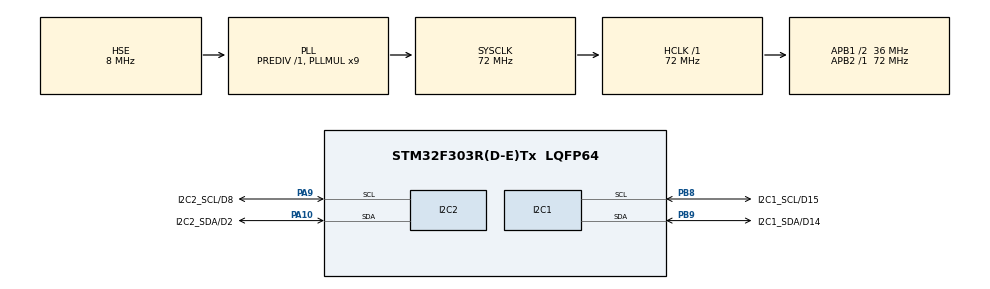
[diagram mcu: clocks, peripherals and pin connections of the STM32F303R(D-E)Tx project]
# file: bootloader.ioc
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I2C1.OwnAddress=5
I2C1.Timing=0x10808DD3
I2C2.OwnAddress=5
I2C2.Timing=0x10808DD3
Mcu.Family=STM32F3
Mcu.Name=STM32F303R(D-E)Tx
Mcu.Package=LQFP64
NVIC.I2C2_ER_IRQn=true\:0\:0\:false
NVIC.I2C2_EV_IRQn=true\:0\:0\:false
NVIC.PriorityGroup=NVIC_PRIORITYGROUP_4
PA10.GPIO_Label=I2C2_SDA/D2
PA10.Mode=I2C
PA10.Signal=I2C2_SDA
PA13.Mode=JTAG(5-pin)
PA13.Signal=SYS_JTMS-SWDIO
PA14.Mode=JTAG(5-pin)
PA14.Signal=SYS_JTCK-SWCLK
PA15.Mode=JTAG(5-pin)
PA15.Signal=SYS_JTDI
PA9.GPIO_Label=I2C2_SCL/D8
PA9.Mode=I2C
PA9.Signal=I2C2_SCL
PB3.Mode=JTAG(5-pin)
PB3.Signal=SYS_JTDO-TRACESWO
PB4.Mode=JTAG(5-pin)
PB4.Signal=SYS_NJTRST
PB8.GPIO_Label=I2C1_SCL/D15
PB8.Mode=I2C
PB8.Signal=I2C1_SCL
PB9.GPIO_Label=I2C1_SDA/D14
PB9.Mode=I2C
PB9.Signal=I2C1_SDA
PF0-OSC_IN.Mode=HSE-External-Oscillator
PF0-OSC_IN.Signal=RCC_OSC_IN
PF1-OSC_OUT.Mode=HSE-External-Oscillator
PF1-OSC_OUT.Signal=RCC_OSC_OUT
ProjectManager.HeapSize=0x400
ProjectManager.StackSize=0x200
ProjectManager.TargetToolchain=SW4STM32
RCC.AHBFreq_Value=72000000
RCC.APB1CLKDivider=RCC_HCLK_DIV2
RCC.APB1Freq_Value=36000000
RCC.APB1TimFreq_Value=72000000
RCC.APB2Freq_Value=72000000
RCC.APB2TimFreq_Value=72000000
RCC.CortexFreq_Value=72000000
RCC.HCLKFreq_Value=72000000
RCC.HSE_VALUE=8000000
RCC.HSIState=RCC_HSI_ON
RCC.HSI_VALUE=8000000
RCC.I2c1ClockSelection=RCC_I2C1CLKSOURCE_SYSCLK
RCC.I2c2ClockSelection=RCC_I2C2CLKSOURCE_SYSCLK
RCC.LSE_VALUE=32768
RCC.PLLMUL=RCC_PLL_MUL9
RCC.PLLSourceVirtual=RCC_PLLSOURCE_HSE
RCC.SYSCLKFreq_VALUE=72000000
RCC.SYSCLKSourceVirtual=RCC_SYSCLKSOURCE_PLLCLK
RCC.USBFreq_Value=72000000
board=bootloader

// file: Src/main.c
/**
  ******************************************************************************
  * File Name          : main.c
  * Description        : Main program body
  ******************************************************************************
  *
  * COPYRIGHT(c) 2016 STMicroelectronics
  *
  * Redistribution and use in source and binary forms, with or without modification,
  * are permitted provided that the following conditions are met:
  *   1. Redistributions of source code must retain the above copyright notice,
  *      this list of conditions and the following disclaimer.
  *   2. Redistributions in binary form must reproduce the above copyright notice,
  *      this list of conditions and the following disclaimer in the documentation
  *      and/or other materials provided with the distribution.
  *   3. Neither the name of STMicroelectronics nor the names of its contributors
  *      may be used to endorse or promote products derived from this software
  *      without specific prior written permission.
  *
  * THIS SOFTWARE IS PROVIDED BY THE COPYRIGHT HOLDERS AND CONTRIBUTORS "AS IS"
  * AND ANY EXPRESS OR IMPLIED WARRANTIES, INCLUDING, BUT NOT LIMITED TO, THE
  * IMPLIED WARRANTIES OF MERCHANTABILITY AND FITNESS FOR A PARTICULAR PURPOSE ARE
  * DISCLAIMED. IN NO EVENT SHALL THE COPYRIGHT HOLDER OR CONTRIBUTORS BE LIABLE
  * FOR ANY DIRECT, INDIRECT, INCIDENTAL, SPECIAL, EXEMPLARY, OR CONSEQUENTIAL
  * DAMAGES (INCLUDING, BUT NOT LIMITED TO, PROCUREMENT OF SUBSTITUTE GOODS OR
  * SERVICES; LOSS OF USE, DATA, OR PROFITS; OR BUSINESS INTERRUPTION) HOWEVER
  * CAUSED AND ON ANY THEORY OF LIABILITY, WHETHER IN CONTRACT, STRICT LIABILITY,
  * OR TORT (INCLUDING NEGLIGENCE OR OTHERWISE) ARISING IN ANY WAY OUT OF THE USE
  * OF THIS SOFTWARE, EVEN IF ADVISED OF THE POSSIBILITY OF SUCH DAMAGE.
  *
  ******************************************************************************
  */
#include "stm32f3xx_hal.h"
#include "i2c.h"
#include "gpio.h"

/* USER CODE BEGIN Includes */
#include <stdbool.h>
#include <string.h>
/* USER CODE END Includes */

/* USER CODE BEGIN PV */
/* Private variables ---------------------------------------------------------*/
#define APP_END 0x08080000
#define AP_START_SECTOR 0x08010000

/* Block out application EEPROM space */
#define BOOT_MODE_ADDRESS 		0x7F
#define BOOT_MODE_APPLICATION	0xA5
#define BOOT_MODE_STK500		0xFF
#define BOOT_MODE_DEVADDRESS	(0x50 << 1)
#define BOOT_MODE_LOAD			0xFF

#define I2C_BUFFER_SIZE			64

#define MESSAGE_START			0x1B
#define TOKEN					0x0E

#define CMD_LOAD_ADDRESS 		0x06
#define CMD_CHIP_ERASE			0x12
#define CMD_PROGRAM_FLASH_ISP 	0x13
#define CMD_READ_FLASH_ISP 		0x14

#define STATUS_CMD_OK			0x00
#define STATUS_CMD_FAILED		0xC0

#define SPM_PAGESIZE			2048

static volatile uint32_t i2cErrorCounter;
static volatile uint32_t i2cReceiveFlag;
static uint8_t i2cRxCharacter[I2C_BUFFER_SIZE];
static uint8_t i2cTxCharacter[I2C_BUFFER_SIZE];
static volatile uint16_t i2cRxLength;
static volatile uint16_t i2cTxLength;

static uint8_t st_sequence_number;
static uint16_t st_message_size;

static uint32_t eraseAddress;
static uint32_t address;

/* USER CODE END PV */

void SystemClock_Config(void);

/* USER CODE BEGIN PFP */
/* Private function prototypes -----------------------------------------------*/
static uint8_t calculateSTK500Checksum(uint8_t *buffer, uint16_t length);
static void build_response_buffer(uint8_t responseCommand, uint8_t responseValue);
static void buildMessageHeader(uint16_t length);
static bool processRequest(void);
static bool commandProcessor(uint8_t *commandBuffer, uint16_t size);
static bool processEraseRequest(uint8_t *commandBuffer, uint16_t size);
static bool processLoadAddressRequest(uint8_t* commandBuffer, uint16_t size);
static bool processProgramFlashIsp(uint8_t* commandBuffer, uint16_t size);
static bool processReadFlashIsp(uint8_t* commandBuffer, uint16_t size);

//void (*const jumpFunction)(void) = (void(*)(void)) (APP_START + 4ul);
typedef  void (*pFunction)(void);

/* USER CODE END PFP */

/* USER CODE BEGIN 0 */
typedef union _FLASH_WORD_
{
	uint32_t value;
	uint8_t units[4];
}FLASH_WORD;

/* USER CODE END 0 */

int main(void)
{

  /* USER CODE BEGIN 1 */
	uint8_t bootValue;
	pFunction jumpFunction;
  /* USER CODE END 1 */

  /* MCU Configuration----------------------------------------------------------*/

  /* Reset of all peripherals, Initializes the Flash interface and the Systick. */
  HAL_Init();

  /* Configure the system clock */
  SystemClock_Config();

  /* Initialize all configured peripherals */
  MX_GPIO_Init();
  MX_I2C1_Init();
  MX_I2C2_Init();

  /* USER CODE BEGIN 2 */
  i2cErrorCounter = 0;
  i2cReceiveFlag = 0;

  // --
  // --
  // --
  if(HAL_OK == HAL_I2C_Mem_Read(&hi2c1, 0xA0, BOOT_MODE_ADDRESS, I2C_MEMADD_SIZE_8BIT, &bootValue, 1, 200))
  {
	  if(BOOT_MODE_APPLICATION == bootValue)
	  {
		  // Disable the system tick timer so that there's no
		  // harm done if the application doesn't initialize an ISR
		  // for sys tick
		  SysTick->CTRL &= ~SysTick_CTRL_ENABLE_Msk;

		  // Disable the I2C peripherals
		  HAL_I2C_MspDeInit(&hi2c1);
		  HAL_I2C_MspDeInit(&hi2c2);

		  // Reset the stack pointer
		  __set_MSP(*(__IO uint32_t*)AP_START_SECTOR);

		  // Jump to application space. The following two lines
		  // recover the applications entry point address and calls
		  // into the application. The application will generally
		  // reset the stack pointer so the following function
		  // should never return.
		  jumpFunction = (pFunction)((uint32_t*)AP_START_SECTOR)[1];
		  jumpFunction();

	  }
  }

  // --
  // -- Start the I2C receive function.
  // --
  HAL_I2C_Slave_Receive_IT(&hi2c2, i2cRxCharacter, sizeof(i2cRxCharacter));

  /* USER CODE END 2 */

  /* Infinite loop */
  while (1)
  {

  /* USER CODE BEGIN 3 */
	  if(i2cReceiveFlag)
	  {
		  if(true == processRequest())
		  {
			  /* Request involves data to be read by the host. */
			  HAL_I2C_Slave_Transmit(&hi2c2, i2cTxCharacter, i2cTxLength, 200);

		  }

		  //
		  // Clear the receive flag first, then ...
		  // Restart I2C Receiving
		  //
		  i2cReceiveFlag = 0;
		  HAL_I2C_Slave_Receive_IT(&hi2c2, i2cRxCharacter, sizeof(i2cRxCharacter));

	  }

  }
  /* USER CODE END 3 */

}

/** System Clock Configuration
*/
void SystemClock_Config(void)
{

  RCC_OscInitTypeDef RCC_OscInitStruct;
  RCC_ClkInitTypeDef RCC_ClkInitStruct;
  RCC_PeriphCLKInitTypeDef PeriphClkInit;

  RCC_OscInitStruct.OscillatorType = RCC_OSCILLATORTYPE_HSE;
  RCC_OscInitStruct.HSEState = RCC_HSE_ON;
  RCC_OscInitStruct.PLL.PLLState = RCC_PLL_ON;
  RCC_OscInitStruct.PLL.PLLSource = RCC_PLLSOURCE_HSE;
  RCC_OscInitStruct.PLL.PLLMUL = RCC_PLL_MUL9;
  RCC_OscInitStruct.PLL.PREDIV = RCC_PREDIV_DIV1;
  HAL_RCC_OscConfig(&RCC_OscInitStruct);

  RCC_ClkInitStruct.ClockType = RCC_CLOCKTYPE_HCLK|RCC_CLOCKTYPE_SYSCLK
                              |RCC_CLOCKTYPE_PCLK1|RCC_CLOCKTYPE_PCLK2;
  RCC_ClkInitStruct.SYSCLKSource = RCC_SYSCLKSOURCE_PLLCLK;
  RCC_ClkInitStruct.AHBCLKDivider = RCC_SYSCLK_DIV1;
  RCC_ClkInitStruct.APB1CLKDivider = RCC_HCLK_DIV2;
  RCC_ClkInitStruct.APB2CLKDivider = RCC_HCLK_DIV1;
  HAL_RCC_ClockConfig(&RCC_ClkInitStruct, FLASH_LATENCY_2);

  PeriphClkInit.PeriphClockSelection = RCC_PERIPHCLK_I2C1|RCC_PERIPHCLK_I2C2
                              |RCC_PERIPHCLK_TIM20;
  PeriphClkInit.I2c1ClockSelection = RCC_I2C1CLKSOURCE_SYSCLK;
  PeriphClkInit.I2c2ClockSelection = RCC_I2C2CLKSOURCE_SYSCLK;
  PeriphClkInit.Tim20ClockSelection = RCC_TIM20CLK_HCLK;
  HAL_RCCEx_PeriphCLKConfig(&PeriphClkInit);

  HAL_SYSTICK_Config(HAL_RCC_GetHCLKFreq()/1000);

  HAL_SYSTICK_CLKSourceConfig(SYSTICK_CLKSOURCE_HCLK);

  /* SysTick_IRQn interrupt configuration */
  HAL_NVIC_SetPriority(SysTick_IRQn, 0, 0);
}

/* USER CODE BEGIN 4 */

/**
 * Function: processRequest
 *
 * Input:
 * 	 None
 *
 * Output:
 * 	None
 *
 * Returns:
 * 	true - Response is ready to send
 * 	false - No response required
 *
 * Description:
 * 	Verifies the checksum on the current request. If no errors
 * 	are detected, save the sequence number, extract the data
 * 	segment of the request, and pass the request to the command
 * 	processor.
 */
static bool processRequest(void)
{
	uint8_t bufferChecksum;
	bool responseFlag;

	if(MESSAGE_START != i2cRxCharacter[0])
	{
		return false;
	}

	// --
	// -- Calculate the checksum in the buffer. i2cRxLength is
	// -- set by the i2c interrupt service routine
	// --
	bufferChecksum = calculateSTK500Checksum(i2cRxCharacter, i2cRxLength-1);

	responseFlag = false;

	if( (bufferChecksum == i2cRxCharacter[i2cRxLength-1]) && (TOKEN == i2cRxCharacter[4]))
	{
		st_sequence_number = i2cRxCharacter[1];
		st_message_size = ((uint16_t)i2cRxCharacter[2] << 8) + (uint16_t)i2cRxCharacter[3];
		responseFlag = commandProcessor(&i2cRxCharacter[5], st_message_size);
	}

	return responseFlag;
}

/**
 * Function: commandProcessor
 *
 * Input:
 * 	commandBuffer - Block containing request command
 * 	size - Number of bytes int he request
 *
 * Output:
 * 	None
 *
 * Returns:
 * 	None
 *
 * Description:
 * 	Routes requests to the appropriate command processing function
 */
static bool commandProcessor(uint8_t *commandBuffer, uint16_t size)
{
	bool responseFlag;
	switch(commandBuffer[0])
	{
	case CMD_CHIP_ERASE:
		responseFlag = processEraseRequest(commandBuffer, size);
		break;
	case CMD_LOAD_ADDRESS:
		responseFlag = processLoadAddressRequest(commandBuffer, size);
		break;
	case CMD_PROGRAM_FLASH_ISP:
		responseFlag = processProgramFlashIsp(commandBuffer, size);
		break;
	case CMD_READ_FLASH_ISP:
		responseFlag = processReadFlashIsp(commandBuffer, size);
		break;
	default:
		responseFlag = false;
		break;
	}
	return responseFlag;
}

/*
 * Function: processReadFlashIsp
 * Input:
 *	commandBuffer - buffer containing command to process
 *	size - number of bytes in the block of memory
 * Output:
 *	none
 * Returns:
 *	true - success
 *	false - fail
 * Description:
 *	Builds a response packet that will be returned on the next TWI
 *	read request.
 */
static bool processReadFlashIsp(uint8_t* commandBuffer, uint16_t size)
{
	bool rValue = false;
	uint16_t index;
	uint16_t bufSize;
//	uint16_t temp;

	bufSize = (((commandBuffer[1]) << 8) | (commandBuffer[2]));

	if(bufSize <= 16) {

		rValue = true;

		for(index=0; index < bufSize; index++) {
			memcpy(&i2cTxCharacter[7+index], (uint8_t *)address+index, 1);
		}
		address += bufSize;

		buildMessageHeader(bufSize);

		i2cTxCharacter[5] = CMD_READ_FLASH_ISP;
		i2cTxCharacter[6] = STATUS_CMD_OK;

		i2cTxCharacter[7 + bufSize] = STATUS_CMD_OK;
		i2cTxCharacter[8 + bufSize] = calculateSTK500Checksum(i2cTxCharacter, 7 + bufSize);
		i2cTxLength = 9 + bufSize;

	}

	return rValue;
}

/*
 * Function: processProgramFlashIsp
 * Input:
 *	commandBuffer - Points to request commands
 *	size - number of bytes in the command buffer
 * Output:
 *	none
 * Returns:
 *	true - function finished
 *	false - always returns true
 *
 * Description:
 *	This function writes a block of data to Flash memory. Since the
 *	return flag is an indicator that the function finished, not
 *	whether or not the flash write succeeded, the host application
 *	needs to perform verification by reading back the contents of
 *	flash.
 */
static bool processProgramFlashIsp(uint8_t* commandBuffer, uint16_t size)
{
	uint8_t write_buffer[16];
	uint32_t flashEraseErr;
	uint8_t *p;
	uint16_t bufSize;
	uint16_t index, wordIndex;
	FLASH_EraseInitTypeDef flashEraseType;
	FLASH_WORD flashWord;
	uint32_t *flashAddress;
	HAL_StatusTypeDef status;

	bufSize = (((commandBuffer[1]) << 8) | (commandBuffer[2]));
	p = &commandBuffer[10];

	if(address >= AP_START_SECTOR)
	{
		// TODO: Write data to flash
		if(AP_START_SECTOR == address) {
			/* If the reset vector gets re-written, assume next reset is a boot app action. */
			// TODO: Put system into application mode.
			write_buffer[0] = BOOT_MODE_APPLICATION;
			HAL_I2C_Mem_Write(&hi2c1, BOOT_MODE_DEVADDRESS, BOOT_MODE_ADDRESS,
					I2C_MEMADD_SIZE_8BIT, (uint8_t *)write_buffer, 1, 200);
		}

		if(HAL_OK == HAL_FLASH_Unlock())
		{

			/* Check page boundary and erase pages as the address comes around */
			while( (eraseAddress < (address + bufSize)) ) {

				/* Perform basic bounds check and don't erase this boot loader */
				flashEraseType.NbPages = 1;
				flashEraseType.PageAddress = eraseAddress;
				flashEraseType.TypeErase = FLASH_TYPEERASE_PAGES;

				HAL_FLASH_Unlock();
				HAL_FLASHEx_Erase(&flashEraseType, &flashEraseErr);

				eraseAddress += SPM_PAGESIZE;
			}

			// TODO: Write flash here.
			flashWord.value = 0xFFFFFFFF;
			flashAddress = (uint32_t*)address;
			wordIndex=0;
			for(index=0; index < bufSize; index++)
			{
				flashWord.units[wordIndex] = p[index];
				wordIndex++;

				if(4 == wordIndex)
				{
					wordIndex=0;
					status = HAL_FLASH_Program(FLASH_TYPEPROGRAM_WORD, (uint32_t)flashAddress, flashWord.value);

					if(HAL_OK != status)
					{
						break;
					}
					flashAddress++;
				}

			}

			if(wordIndex)
			{
				status = HAL_FLASH_Program(FLASH_TYPEPROGRAM_WORD, (uint32_t)flashAddress, flashWord.value);
				flashAddress++;
				wordIndex=0;
			}

			address = (uint32_t)flashAddress;

			HAL_FLASH_Lock();
		}

	}

	// Request was received, so respond OK, let the verifier
	// generate the error at the host level.
	build_response_buffer(CMD_PROGRAM_FLASH_ISP, STATUS_CMD_OK);

	return true;
}

/*
 * Function: processLoadAddressRequest
 * Input:
 *	commandBuffer - points to the data segment of a received packet
 *	size - Number of bytes in the data segment
 * Output:
 *	none
 * Returns:
 *	true = success
 *	false - Address out of bounds.
 */
static bool processLoadAddressRequest(uint8_t* commandBuffer, uint16_t size)
{
	bool rValue;
	rValue = false;

	address = ((((uint32_t)commandBuffer[1]) << 24) | (((uint32_t)commandBuffer[2]) << 16) |
		(((uint32_t)commandBuffer[3]) << 8) | ((uint32_t)commandBuffer[4])); // Convert the word address to byte address

	if(address < (APP_END << 1)) {
		build_response_buffer(CMD_LOAD_ADDRESS, STATUS_CMD_OK);
		rValue= true;
	} else {
		build_response_buffer(CMD_LOAD_ADDRESS, STATUS_CMD_FAILED);
	}

	return rValue;
}

static bool processEraseRequest(uint8_t *commandBuffer, uint16_t size)
{
	eraseAddress = AP_START_SECTOR;

	build_response_buffer(CMD_CHIP_ERASE, STATUS_CMD_OK);

	return true;
}

/**
 * Function: calculateSTK500Checksum
 *
 * Input:
 * 	buffer - Pointer to buffer containing source data
 * 	length - Number of bytes in the source data buffer
 *
 * Output:
 * 	None
 *
 * Returns:
 * 	XOR checksum based on source buffer
 */
static uint8_t calculateSTK500Checksum(uint8_t *buffer, uint16_t length)
{
	uint16_t index;
	uint8_t checksum;
	checksum = buffer[0];
	for(index=1; index<length; index++)
	{
		checksum ^= buffer[index];
	}
	return checksum;
}

/**
 * Function: build_response_buffer
 *
 * Input:
 * 	responseCommand: command response is generated for
 * 	responseValue: Pass / Fail indicator for response
 *
 * Output:
 * 	None
 *
 * Returns:
 * 	none
 *
 * Description:
 * 	This function simply builds an STK500 response packet.
 * 	The response will be returned to the host on the next TWI read
 * 	request.
 */
static void build_response_buffer(uint8_t responseCommand, uint8_t responseValue)
{
	buildMessageHeader(2);
	i2cTxCharacter[5] = responseCommand;
	i2cTxCharacter[6] = responseValue;
	i2cTxCharacter[7] = calculateSTK500Checksum(i2cTxCharacter, 7);

	i2cTxLength = 8;
}

static void buildMessageHeader(uint16_t length)
{
	i2cTxCharacter[0] = MESSAGE_START;
	i2cTxCharacter[1] = st_sequence_number;
	i2cTxCharacter[2] = (length >> 8);
	i2cTxCharacter[3] = (length & 0x00FF);
	i2cTxCharacter[4] = TOKEN;
}

void HAL_I2C_SlaveRxCpltCallback(I2C_HandleTypeDef *hi2c)
{
	if(hi2c2.Instance == hi2c->Instance)
	{
		// Servicing I2C2 peripheral interrupt
		i2cReceiveFlag++;
		i2cRxLength = (I2C_BUFFER_SIZE - hi2c->XferCount);
	}

}

void HAL_I2C_ErrorCallback(I2C_HandleTypeDef *hi2c)
{

	if(hi2c2.Instance == hi2c->Instance)
	{
		i2cErrorCounter++;
	}
}

/* USER CODE END 4 */

/************************ (C) COPYRIGHT STMicroelectronics *****END OF FILE****/
